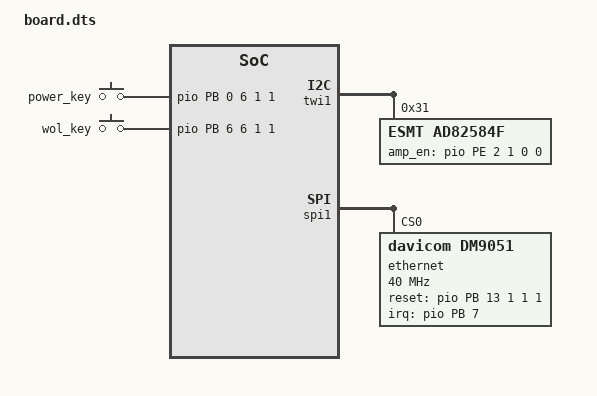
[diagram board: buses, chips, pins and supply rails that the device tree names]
/*
 * Allwinner Technology CO., Ltd. sun8iw18p1 std board.
 *
 * soc board support.
 */

/dts-v1/;

#include "sun8iw18p1.dtsi"

/{
	soc@03000000 {
		twi1: twi@0x05002400 {
			status = "okay";
			ad82584f:ad82584f@0{
				compatible = "ESMT, ad82584f";
				reg = <0x31>;
				/* The E-TSSOP-24L has no reset pin */
				/* reset_pin = <&pio PE 2 1 0 0 0>; */ 
				amp_en = <&pio PE 2 1 0 0 0>;
				status = "okay";
			};
		};

		spi1: spi@05011000 {
			status = "okay";
			ethernet@0 {
			    compatible = "davicom,dm9051";
			    reg = <0>; /* spi chip select */
			    local-mac-address = [00 00 00 00 00 00];
			    interrupt-parent = <&pio>;
			    interrupts = <PB 7 IRQ_TYPE_LEVEL_HIGH>; /*PB7 - intr, PB13 - n_reset */
			    reset-gpios = <&pio PB 13 1 1 1 1>;
			    spi-max-frequency = <40000000>;
			};
		};

		gpio_ir_rx {
			compatible = "allwinner,gpio-ir-rx";
			gpio-rx = <&pio PB 0 6 1 1 1>;
			status = "disabled";
		};

		gpio_ir_tx {
			compatible = "allwinner,gpio-ir-tx";
			gpio-tx = <&pio PB 1 1 1 1 1>;
			status = "disabled";
		};

		snddaudio0:sound@1 {
			status = "okay";
			sunxi,snddaudio-codec = "snd-soc-dummy";
			sunxi,snddaudio-codec-dai = "snd-soc-dummy-dai";
		};

		snddaudio1:sound@2 {
			status = "okay";
			sunxi,snddaudio-codec = "ad82584f.1-0031";
			sunxi,snddaudio-codec-dai = "ad82584f-dai";
		};

		gpio-keys {
			compatible = "gpio-keys";
			autorepeat;

			powerkey {
				label = "power_key";
				linux,code = <116>;
				gpios = <&pio PB 0 6 1 1 1>;
				wakeup-source;
			};

			wolkey {
				label = "wol_key";
				linux,code = <143>;
				gpios = <&pio PB 6 6 1 1 1>;
				wakeup-source;
			};
		};

	};

	cpu_opp_l_table0: opp_l_table0 {
		/* compatible = "operating-points-v2"; */
		compatible = "allwinner,opp_l_table0";
		opp_count = <3>;
		opp-shared;


		opp00 {
			opp-hz = /bits/ 64 <720000000>;
			opp-microvolt = <820000>;
			axi-bus-divide-ratio = <3>;
			clock-latency-ns = <2000000>;
		};
		opp01 {
			opp-hz = /bits/ 64 <1008000000>;
			opp-microvolt = <900000>;
			axi-bus-divide-ratio = <3>;
			clock-latency-ns = <2000000>;
		};

		opp02 {
			opp-hz = /bits/ 64 <1200000000>;
			opp-microvolt = <1000000>;
			axi-bus-divide-ratio = <3>;
			clock-latency-ns = <2000000>;
		};

		/*opp03 {
			opp-hz = /bits/ 64 <1512000000>;
			opp-microvolt = <1100000>;
			axi-bus-divide-ratio = <3>;
			clock-latency-ns = <2000000>;
		};*/
	};

	/*pwm config, use pwm to adapt volt; please cancel the comment
	 *polarity-> 0:NORMAL 1:INVERSED*/
	/*pwm_dvfs_info {
		period_ns = <50000>;
		polarity  = <0>;
		pwm_id    = <7>;
		vol_base  = <831000>;
		vol_max   = <1102000>;
	};*/

};
